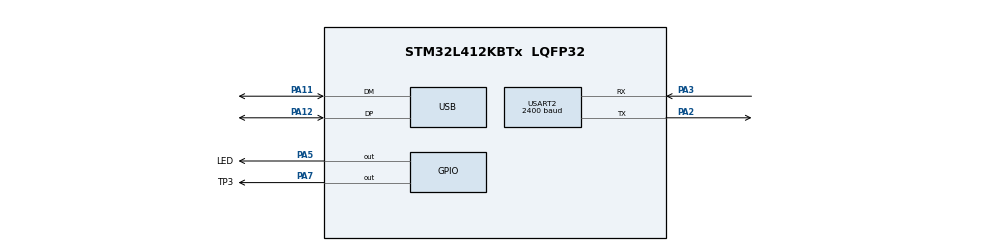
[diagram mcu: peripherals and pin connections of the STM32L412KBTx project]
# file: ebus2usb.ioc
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Mcu.Family=STM32L4
Mcu.Name=STM32L412KBTx
Mcu.Package=LQFP32
NVIC.PriorityGroup=NVIC_PRIORITYGROUP_4
NVIC.USB_IRQn=true\:0\:0\:false\:false\:true\:false\:true\:true
PA11.Mode=Device
PA11.Signal=USB_DM
PA12.Mode=Device
PA12.Signal=USB_DP
PA13\ (JTMS/SWDIO).Mode=Trace_Asynchronous_SW
PA13\ (JTMS/SWDIO).Signal=SYS_JTMS-SWDIO
PA14\ (JTCK/SWCLK).Mode=Trace_Asynchronous_SW
PA14\ (JTCK/SWCLK).Signal=SYS_JTCK-SWCLK
PA2.Mode=Asynchronous
PA2.Signal=USART2_TX
PA3.Mode=Asynchronous
PA3.Signal=USART2_RX
PA5.GPIO_Label=LED
PA5.Signal=GPIO_Output
PA7.GPIO_Label=TP3
PA7.Signal=GPIO_Output
PB3\ (JTDO/TRACESWO).Mode=Trace_Asynchronous_SW
PB3\ (JTDO/TRACESWO).Signal=SYS_JTDO-SWO
ProjectManager.HeapSize=0x200
ProjectManager.StackSize=0x400
ProjectManager.TargetToolchain=STM32CubeIDE
RCC.ADCFreq_Value=80000000
RCC.AHBFreq_Value=80000000
RCC.APB1Freq_Value=80000000
RCC.APB1TimFreq_Value=80000000
RCC.APB2Freq_Value=80000000
RCC.APB2TimFreq_Value=80000000
RCC.CortexFreq_Value=80000000
RCC.HCLKFreq_Value=80000000
RCC.HSE_VALUE=8000000
RCC.HSI48_VALUE=48000000
RCC.HSI_VALUE=16000000
RCC.LSE_VALUE=32768
RCC.MSIClockRange=RCC_MSIRANGE_11
RCC.MSI_VALUE=48000000
RCC.PLLN=10
RCC.PLLSourceVirtual=RCC_PLLSOURCE_HSI
RCC.SYSCLKFreq_VALUE=80000000
RCC.SYSCLKSource=RCC_SYSCLKSOURCE_PLLCLK
RCC.USBFreq_Value=48000000
RCC.VCOOutputFreq_Value=160000000
USART2.BaudRate=2400
USART2.VirtualMode-Asynchronous=VM_ASYNC
USB_DEVICE.CLASS_NAME_FS=CDC
USB_DEVICE.VirtualMode=Cdc
USB_DEVICE.VirtualModeFS=Cdc_FS
VP_USB_DEVICE_VS_USB_DEVICE_CDC_FS.Mode=CDC_FS
board=custom

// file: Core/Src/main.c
/* USER CODE BEGIN Header */
/**
  ******************************************************************************
  * @file           : main.c
  * @brief          : Main program body
  ******************************************************************************
  * @attention
  *
  * Copyright (c) 2023 STMicroelectronics.
  * All rights reserved.
  *
  * This software is licensed under terms that can be found in the LICENSE file
  * in the root directory of this software component.
  * If no LICENSE file comes with this software, it is provided AS-IS.
  *
  ******************************************************************************
  */
/* USER CODE END Header */
#include "main.h"
#include "usb_device.h"

/* USER CODE BEGIN Includes */
#include "usbd_cdc_if.h"
/* USER CODE END Includes */

/* USER CODE BEGIN PV */
int rx_head = 0;
int rx_tail = 0;
uint8_t RX_BUF[64];
int tx_head = 0;
int tx_tail = 0;
uint8_t TX_BUF[64];
/* USER CODE END PV */

void SystemClock_Config(void);
static void MX_GPIO_Init(void);
static void MX_USART2_UART_Init(void);

int main(void)
{

  /* MCU Configuration--------------------------------------------------------*/

  /* Reset of all peripherals, Initializes the Flash interface and the Systick. */
  HAL_Init();

  /* Configure the system clock */
  SystemClock_Config();

  /* Initialize all configured peripherals */
  MX_GPIO_Init();
  MX_USART2_UART_Init();
  MX_USB_DEVICE_Init();

  /* Infinite loop */
  /* USER CODE BEGIN WHILE */
  HAL_GPIO_WritePin(LED_GPIO_Port, LED_Pin, GPIO_PIN_SET);
  while (1)
  {
    //HAL_GPIO_TogglePin(LED_GPIO_Port, LEDPin);
    if (LL_USART_IsActiveFlag_ORE(USART2)) {
      LL_USART_ClearFlag_ORE(USART2);
    }
    if (LL_USART_IsActiveFlag_RXNE(USART2)) {
      RX_BUF[rx_head] = LL_USART_ReceiveData8(USART2);
      rx_head = (rx_head + 1) & 0x3F;
    }
    if (LL_USART_IsActiveFlag_TXE(USART2) && (tx_tail != tx_head)) {
      LL_USART_ClearFlag_TC(USART2);
      LL_USART_TransmitData8(USART2, TX_BUF[tx_tail]);
      tx_tail = (tx_tail + 1) & 0x3F;
    }

    if (rx_tail != rx_head) {
      if (CDC_Transmit_FS(&RX_BUF[rx_tail], 1) == USBD_OK) {
            rx_tail = (rx_tail + 1) & 0x3F;
      }
    }
    /* USER CODE END WHILE */

  }
}

void SystemClock_Config(void)
{
  LL_FLASH_SetLatency(LL_FLASH_LATENCY_4);
  while(LL_FLASH_GetLatency()!= LL_FLASH_LATENCY_4)
  {
  }
  LL_PWR_SetRegulVoltageScaling(LL_PWR_REGU_VOLTAGE_SCALE1);
  while (LL_PWR_IsActiveFlag_VOS() != 0)
  {
  }
  LL_RCC_HSI_Enable();

   /* Wait till HSI is ready */
  while(LL_RCC_HSI_IsReady() != 1)
  {

  }
  LL_RCC_HSI_SetCalibTrimming(64);
  LL_RCC_MSI_Enable();

   /* Wait till MSI is ready */
  while(LL_RCC_MSI_IsReady() != 1)
  {

  }
  LL_RCC_MSI_EnableRangeSelection();
  LL_RCC_MSI_SetRange(LL_RCC_MSIRANGE_11);
  LL_RCC_MSI_SetCalibTrimming(0);
  LL_RCC_PLL_ConfigDomain_SYS(LL_RCC_PLLSOURCE_HSI, LL_RCC_PLLM_DIV_1, 10, LL_RCC_PLLR_DIV_2);
  LL_RCC_PLL_EnableDomain_SYS();
  LL_RCC_PLL_Enable();

   /* Wait till PLL is ready */
  while(LL_RCC_PLL_IsReady() != 1)
  {

  }
  LL_RCC_SetSysClkSource(LL_RCC_SYS_CLKSOURCE_PLL);

   /* Wait till System clock is ready */
  while(LL_RCC_GetSysClkSource() != LL_RCC_SYS_CLKSOURCE_STATUS_PLL)
  {

  }
  LL_RCC_SetAHBPrescaler(LL_RCC_SYSCLK_DIV_1);
  LL_RCC_SetAPB1Prescaler(LL_RCC_APB1_DIV_1);
  LL_RCC_SetAPB2Prescaler(LL_RCC_APB2_DIV_1);
  LL_SetSystemCoreClock(80000000);

   /* Update the time base */
  if (HAL_InitTick (TICK_INT_PRIORITY) != HAL_OK)
  {
    Error_Handler();
  }
}

static void MX_USART2_UART_Init(void)
{

  LL_USART_InitTypeDef USART_InitStruct = {0};

  LL_GPIO_InitTypeDef GPIO_InitStruct = {0};

  LL_RCC_SetUSARTClockSource(LL_RCC_USART2_CLKSOURCE_PCLK1);

  /* Peripheral clock enable */
  LL_APB1_GRP1_EnableClock(LL_APB1_GRP1_PERIPH_USART2);

  LL_AHB2_GRP1_EnableClock(LL_AHB2_GRP1_PERIPH_GPIOA);
  /**USART2 GPIO Configuration
  PA2   ------> USART2_TX
  PA3   ------> USART2_RX
  */
  GPIO_InitStruct.Pin = LL_GPIO_PIN_2|LL_GPIO_PIN_3;
  GPIO_InitStruct.Mode = LL_GPIO_MODE_ALTERNATE;
  GPIO_InitStruct.Speed = LL_GPIO_SPEED_FREQ_VERY_HIGH;
  GPIO_InitStruct.OutputType = LL_GPIO_OUTPUT_PUSHPULL;
  GPIO_InitStruct.Pull = LL_GPIO_PULL_NO;
  GPIO_InitStruct.Alternate = LL_GPIO_AF_7;
  LL_GPIO_Init(GPIOA, &GPIO_InitStruct);

  USART_InitStruct.BaudRate = 2400;
  USART_InitStruct.DataWidth = LL_USART_DATAWIDTH_8B;
  USART_InitStruct.StopBits = LL_USART_STOPBITS_1;
  USART_InitStruct.Parity = LL_USART_PARITY_NONE;
  USART_InitStruct.TransferDirection = LL_USART_DIRECTION_TX_RX;
  USART_InitStruct.HardwareFlowControl = LL_USART_HWCONTROL_NONE;
  USART_InitStruct.OverSampling = LL_USART_OVERSAMPLING_16;
  LL_USART_Init(USART2, &USART_InitStruct);
  LL_USART_ConfigAsyncMode(USART2);
  LL_USART_Enable(USART2);

}

static void MX_GPIO_Init(void)
{
  LL_GPIO_InitTypeDef GPIO_InitStruct = {0};

  /* GPIO Ports Clock Enable */
  LL_AHB2_GRP1_EnableClock(LL_AHB2_GRP1_PERIPH_GPIOA);
  LL_AHB2_GRP1_EnableClock(LL_AHB2_GRP1_PERIPH_GPIOB);

  /**/
  LL_GPIO_ResetOutputPin(GPIOA, LED_Pin|TP3_Pin);

  /**/
  GPIO_InitStruct.Pin = LED_Pin|TP3_Pin;
  GPIO_InitStruct.Mode = LL_GPIO_MODE_OUTPUT;
  GPIO_InitStruct.Speed = LL_GPIO_SPEED_FREQ_LOW;
  GPIO_InitStruct.OutputType = LL_GPIO_OUTPUT_PUSHPULL;
  GPIO_InitStruct.Pull = LL_GPIO_PULL_NO;
  LL_GPIO_Init(GPIOA, &GPIO_InitStruct);

}

void Error_Handler(void)
{
  __disable_irq();
  while (1)
  {
  }
}
